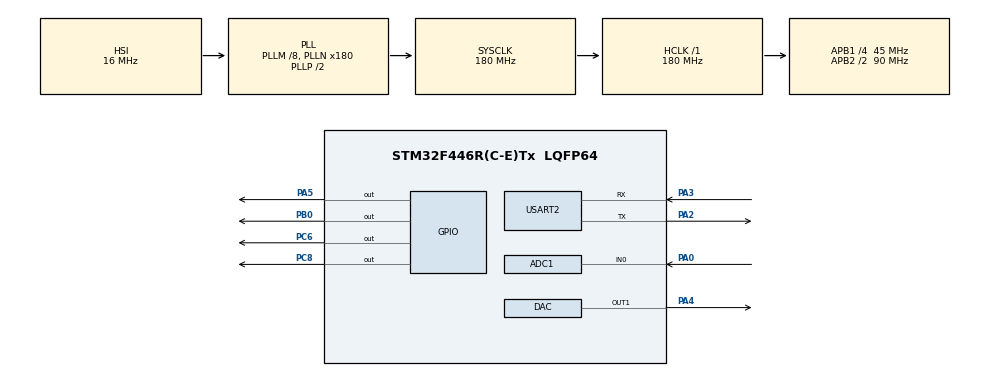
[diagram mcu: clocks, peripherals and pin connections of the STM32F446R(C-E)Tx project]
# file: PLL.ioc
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Mcu.Family=STM32F4
Dma.DAC1.2.PeriphInc=DMA_PINC_DISABLE
RCC.CortexFreq_Value=180000000
ADC1.ContinuousConvMode=ENABLE
Dma.USART2_TX.1.MemInc=DMA_MINC_ENABLE
RCC.SYSCLKSource=RCC_SYSCLKSOURCE_PLLCLK
ProjectManager.StackSize=0x400
Dma.DAC1.2.MemInc=DMA_MINC_DISABLE
Dma.DAC1.2.FIFOMode=DMA_FIFOMODE_DISABLE
ADC1.Channel-3\#ChannelRegularConversion=ADC_CHANNEL_0
RCC.HCLKFreq_Value=180000000
RCC.APB2TimFreq_Value=180000000
VP_TIM10_VS_ClockSourceINT.Mode=Enable_Timer
Dma.ADC1.0.Direction=DMA_PERIPH_TO_MEMORY
Dma.USART2_TX.1.Mode=DMA_NORMAL
NVIC.DMA2_Stream0_IRQn=true\:0\:0\:false\:false\:true\:false\:true
Dma.ADC1.0.MemDataAlignment=DMA_MDATAALIGN_HALFWORD
RCC.AHBFreq_Value=180000000
TIM10.Channel=TIM_CHANNEL_1
DAC.DAC_Trigger=DAC_TRIGGER_T2_TRGO
Dma.USART2_TX.1.Instance=DMA1_Stream6
Dma.ADC1.0.PeriphInc=DMA_PINC_DISABLE
DAC.DAC_OutputBuffer=DAC_OUTPUTBUFFER_ENABLE
SH.ADCx_IN0.0=ADC1_IN0,IN0
Mcu.Package=LQFP64
TIM2.Prescaler=90-1
USART2.VirtualMode=VM_ASYNC
Dma.DAC1.2.Direction=DMA_MEMORY_TO_PERIPH
TIM2.TIM_MasterOutputTrigger=TIM_TRGO_UPDATE
RCC.APB2CLKDivider=RCC_HCLK_DIV2
Dma.Request2=DAC1
Dma.Request1=USART2_TX
RCC.APB1TimFreq_Value=90000000
Dma.ADC1.0.FIFOMode=DMA_FIFOMODE_DISABLE
Dma.DAC1.2.PeriphDataAlignment=DMA_PDATAALIGN_HALFWORD
NVIC.DMA1_Stream6_IRQn=true\:0\:0\:false\:false\:true\:false\:true
Dma.Request0=ADC1
PA3.Signal=USART2_RX
TIM10.Prescaler=10000-1
SH.COMP_DAC1_group.0=DAC_OUT1,DAC_OUT1
Dma.USART2_TX.1.Priority=DMA_PRIORITY_LOW
Dma.ADC1.0.Instance=DMA2_Stream0
Dma.USART2_TX.1.FIFOMode=DMA_FIFOMODE_DISABLE
PC8.Signal=GPIO_Output
PC6.Signal=GPIO_Output
RCC.APB1CLKDivider=RCC_HCLK_DIV4
VP_TIM10_VS_no_output1.Mode=Output Compare1 No Output
Dma.USART2_TX.1.PeriphDataAlignment=DMA_PDATAALIGN_BYTE
NVIC.USART2_IRQn=true\:0\:0\:false\:false\:true\:true\:true
PA0-WKUP.Signal=ADCx_IN0
PA3.Mode=Asynchronous
Dma.ADC1.0.PeriphDataAlignment=DMA_PDATAALIGN_HALFWORD
ProjectManager.TargetToolchain=STM32CubeIDE
NVIC.DMA1_Stream5_IRQn=true\:0\:0\:false\:false\:true\:false\:true
Dma.ADC1.0.Mode=DMA_CIRCULAR
Dma.ADC1.0.Priority=DMA_PRIORITY_LOW
RCC.USBFreq_Value=180000000
PA5.Signal=GPIO_Output
Dma.USART2_TX.1.PeriphInc=DMA_PINC_DISABLE
board=custom
RCC.VCOOutputFreq_Value=360000000
TIM10.Period=18000-1
Dma.USART2_TX.1.Direction=DMA_MEMORY_TO_PERIPH
RCC.APB2Freq_Value=90000000
VP_TIM2_VS_ClockSourceINT.Mode=Internal
Dma.DAC1.2.Instance=DMA1_Stream5
Dma.DAC1.2.Mode=DMA_CIRCULAR
Dma.DAC1.2.MemDataAlignment=DMA_MDATAALIGN_HALFWORD
ADC1.DMAContinuousRequests=ENABLE
TIM2.Period=10-1
Mcu.Name=STM32F446R(C-E)Tx
PA2.Signal=USART2_TX
PA4.Signal=COMP_DAC1_group
RCC.SYSCLKFreq_VALUE=180000000
ADC1.master=1
ADC1.Rank-3\#ChannelRegularConversion=1
ADC1.SamplingTime-3\#ChannelRegularConversion=ADC_SAMPLETIME_3CYCLES
Dma.ADC1.0.MemInc=DMA_MINC_DISABLE
ProjectManager.HeapSize=0x200
NVIC.TIM1_UP_TIM10_IRQn=true\:0\:0\:false\:false\:true\:true\:true
Dma.DAC1.2.Priority=DMA_PRIORITY_LOW
NVIC.PriorityGroup=NVIC_PRIORITYGROUP_4
ADC1.NbrOfConversionFlag=1
RCC.PLLM=8
RCC.PLLN=180
PA2.Mode=Asynchronous
Dma.USART2_TX.1.MemDataAlignment=DMA_MDATAALIGN_BYTE
ADC1.DataAlign=ADC_DATAALIGN_RIGHT
RCC.APB1Freq_Value=45000000
PB0.Signal=GPIO_Output

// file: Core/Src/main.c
/* USER CODE BEGIN Header */
/**
  ******************************************************************************
  * @file           : main.c
  * @brief          : Main program body
  ******************************************************************************
  * @attention
  *
  * <h2><center>&copy; Copyright (c) 2021 STMicroelectronics.
  * All rights reserved.</center></h2>
  *
  * This software component is licensed by ST under BSD 3-Clause license,
  * the "License"; You may not use this file except in compliance with the
  * License. You may obtain a copy of the License at:
  *                        opensource.org/licenses/BSD-3-Clause
  *
  ******************************************************************************
  */
/* USER CODE END Header */
#include "main.h"

/* USER CODE BEGIN Includes */
  #include <stdio.h>
  #include <string.h>
/* USER CODE END Includes */

/* USER CODE BEGIN PD */

// Size of ADC buffer
#define adcBuf_LEN 10
#define PI 3.14159265359
#define TWO_PI 2*PI
/* USER CODE END PD */

ADC_HandleTypeDef hadc1;
DMA_HandleTypeDef hdma_adc1;

DAC_HandleTypeDef hdac;
DMA_HandleTypeDef hdma_dac1;

TIM_HandleTypeDef htim2;
TIM_HandleTypeDef htim10;

UART_HandleTypeDef huart2;
DMA_HandleTypeDef hdma_usart2_tx;

/* USER CODE BEGIN PV */
// USART DMA implementation: Interrupt definition
//void DMATransferComplete(DMA_HandleTypeDef *hdma);

// ADC & DAC DMA buffer
uint16_t adcBuf[adcBuf_LEN];
uint16_t adcValue;

/* USER CODE END PV */

void SystemClock_Config(void);
static void MX_GPIO_Init(void);
static void MX_DMA_Init(void);
static void MX_USART2_UART_Init(void);
static void MX_ADC1_Init(void);
static void MX_TIM10_Init(void);
static void MX_DAC_Init(void);
static void MX_TIM2_Init(void);

int main(void)
{
  /* USER CODE BEGIN 1 */
  // Cope string into buffer (Buffer is integer buffer therefore (char*))
  uint8_t buf[30];
  strcpy((char*)buf, "Hello!\r\n");

  // String buffer for USART
  char adcUsartBuf[40];

  // DAC variables
  uint32_t var; // Digital value storage for DAC

  /* USER CODE END 1 */

  /* MCU Configuration--------------------------------------------------------*/

  /* Reset of all peripherals, Initializes the Flash interface and the Systick. */
  HAL_Init();

  /* Configure the system clock */
  SystemClock_Config();

  /* Initialize all configured peripherals */
  MX_GPIO_Init();
  MX_DMA_Init();
  MX_USART2_UART_Init();
  MX_ADC1_Init();
  MX_TIM10_Init();
  MX_DAC_Init();
  MX_TIM2_Init();
  /* USER CODE BEGIN 2 */

  // ADC DMA implementation//  HAL_ADC_Start_DMA(&hadc1, (int32_t*)adcValue16, sizeof(adcValue16)); // Start DMA
//  HAL_ADC_Start_DMA(&hadc1, (uint32_t*)adcBuf, sizeof(adcBuf)/sizeof(uint16_t)); // Start DMA//  HAL_ADC_Start_DMA(&hadc1, (uint32_t*)adcValue32, 1); // Start DMA (currently unused

  // USART DMA interrupt
//  HAL_DMA_RegisterCallback(&hdma_usart2_tx, HAL_DMA_XFER_CPLT_CB_ID, &DMATransferComplete);

  // DAC DMA
//  HAL_DAC_Start_DMA(&hdac, DAC1_CHANNEL_1, (uint32_t*)&adcBuf[0], sizeof(adcReading0), DAC_ALIGN_12B_R);//  HAL_DAC_Start_DMA(&hdac, DAC1_CHANNEL_1, (uint32_t*)testArray, sizeof(testArray)/sizeof(uint16_t), DAC_ALIGN_12B_R);

  // Timer interrupt start
  HAL_TIM_Base_Start_IT(&htim10);

 // Timer 2 start - DAC starts on every timer 2 update!
  HAL_TIM_Base_Start(&htim2);
  /* USER CODE END 2 */

  /* Infinite loop */
  while (1)
  {

  }
}

void SystemClock_Config(void)
{
  RCC_OscInitTypeDef RCC_OscInitStruct = {0};
  RCC_ClkInitTypeDef RCC_ClkInitStruct = {0};

  /** Configure the main internal regulator output voltage
  */
  __HAL_RCC_PWR_CLK_ENABLE();
  __HAL_PWR_VOLTAGESCALING_CONFIG(PWR_REGULATOR_VOLTAGE_SCALE1);
  /** Initializes the RCC Oscillators according to the specified parameters
  * in the RCC_OscInitTypeDef structure.
  */
  RCC_OscInitStruct.OscillatorType = RCC_OSCILLATORTYPE_HSI;
  RCC_OscInitStruct.HSIState = RCC_HSI_ON;
  RCC_OscInitStruct.HSICalibrationValue = RCC_HSICALIBRATION_DEFAULT;
  RCC_OscInitStruct.PLL.PLLState = RCC_PLL_ON;
  RCC_OscInitStruct.PLL.PLLSource = RCC_PLLSOURCE_HSI;
  RCC_OscInitStruct.PLL.PLLM = 8;
  RCC_OscInitStruct.PLL.PLLN = 180;
  RCC_OscInitStruct.PLL.PLLP = RCC_PLLP_DIV2;
  RCC_OscInitStruct.PLL.PLLQ = 2;
  RCC_OscInitStruct.PLL.PLLR = 2;
  if (HAL_RCC_OscConfig(&RCC_OscInitStruct) != HAL_OK)
  {
    Error_Handler();
  }
  /** Activate the Over-Drive mode
  */
  if (HAL_PWREx_EnableOverDrive() != HAL_OK)
  {
    Error_Handler();
  }
  /** Initializes the CPU, AHB and APB buses clocks
  */
  RCC_ClkInitStruct.ClockType = RCC_CLOCKTYPE_HCLK|RCC_CLOCKTYPE_SYSCLK
                              |RCC_CLOCKTYPE_PCLK1|RCC_CLOCKTYPE_PCLK2;
  RCC_ClkInitStruct.SYSCLKSource = RCC_SYSCLKSOURCE_PLLCLK;
  RCC_ClkInitStruct.AHBCLKDivider = RCC_SYSCLK_DIV1;
  RCC_ClkInitStruct.APB1CLKDivider = RCC_HCLK_DIV4;
  RCC_ClkInitStruct.APB2CLKDivider = RCC_HCLK_DIV2;

  if (HAL_RCC_ClockConfig(&RCC_ClkInitStruct, FLASH_LATENCY_5) != HAL_OK)
  {
    Error_Handler();
  }
}

static void MX_ADC1_Init(void)
{

  ADC_ChannelConfTypeDef sConfig = {0};

  /** Configure the global features of the ADC (Clock, Resolution, Data Alignment and number of conversion)
  */
  hadc1.Instance = ADC1;
  hadc1.Init.ClockPrescaler = ADC_CLOCK_SYNC_PCLK_DIV4;
  hadc1.Init.Resolution = ADC_RESOLUTION_12B;
  hadc1.Init.ScanConvMode = DISABLE;
  hadc1.Init.ContinuousConvMode = ENABLE;
  hadc1.Init.DiscontinuousConvMode = DISABLE;
  hadc1.Init.ExternalTrigConvEdge = ADC_EXTERNALTRIGCONVEDGE_NONE;
  hadc1.Init.ExternalTrigConv = ADC_SOFTWARE_START;
  hadc1.Init.DataAlign = ADC_DATAALIGN_RIGHT;
  hadc1.Init.NbrOfConversion = 1;
  hadc1.Init.DMAContinuousRequests = ENABLE;
  hadc1.Init.EOCSelection = ADC_EOC_SINGLE_CONV;
  if (HAL_ADC_Init(&hadc1) != HAL_OK)
  {
    Error_Handler();
  }
  /** Configure for the selected ADC regular channel its corresponding rank in the sequencer and its sample time.
  */
  sConfig.Channel = ADC_CHANNEL_0;
  sConfig.Rank = 1;
  sConfig.SamplingTime = ADC_SAMPLETIME_3CYCLES;
  if (HAL_ADC_ConfigChannel(&hadc1, &sConfig) != HAL_OK)
  {
    Error_Handler();
  }

}

static void MX_DAC_Init(void)
{

  DAC_ChannelConfTypeDef sConfig = {0};

  /** DAC Initialization
  */
  hdac.Instance = DAC;
  if (HAL_DAC_Init(&hdac) != HAL_OK)
  {
    Error_Handler();
  }
  /** DAC channel OUT1 config
  */
  sConfig.DAC_Trigger = DAC_TRIGGER_T2_TRGO;
  sConfig.DAC_OutputBuffer = DAC_OUTPUTBUFFER_ENABLE;
  if (HAL_DAC_ConfigChannel(&hdac, &sConfig, DAC_CHANNEL_1) != HAL_OK)
  {
    Error_Handler();
  }

}

static void MX_TIM2_Init(void)
{

  TIM_ClockConfigTypeDef sClockSourceConfig = {0};
  TIM_MasterConfigTypeDef sMasterConfig = {0};

  htim2.Instance = TIM2;
  htim2.Init.Prescaler = 90-1;
  htim2.Init.CounterMode = TIM_COUNTERMODE_UP;
  htim2.Init.Period = 10-1;
  htim2.Init.ClockDivision = TIM_CLOCKDIVISION_DIV1;
  htim2.Init.AutoReloadPreload = TIM_AUTORELOAD_PRELOAD_DISABLE;
  if (HAL_TIM_Base_Init(&htim2) != HAL_OK)
  {
    Error_Handler();
  }
  sClockSourceConfig.ClockSource = TIM_CLOCKSOURCE_INTERNAL;
  if (HAL_TIM_ConfigClockSource(&htim2, &sClockSourceConfig) != HAL_OK)
  {
    Error_Handler();
  }
  sMasterConfig.MasterOutputTrigger = TIM_TRGO_UPDATE;
  sMasterConfig.MasterSlaveMode = TIM_MASTERSLAVEMODE_DISABLE;
  if (HAL_TIMEx_MasterConfigSynchronization(&htim2, &sMasterConfig) != HAL_OK)
  {
    Error_Handler();
  }

}

static void MX_TIM10_Init(void)
{

  TIM_OC_InitTypeDef sConfigOC = {0};

  htim10.Instance = TIM10;
  htim10.Init.Prescaler = 100-1;
  htim10.Init.CounterMode = TIM_COUNTERMODE_UP;
  htim10.Init.Period = 180-1;
  htim10.Init.ClockDivision = TIM_CLOCKDIVISION_DIV1;
  htim10.Init.AutoReloadPreload = TIM_AUTORELOAD_PRELOAD_DISABLE;
  if (HAL_TIM_Base_Init(&htim10) != HAL_OK)
  {
    Error_Handler();
  }
  if (HAL_TIM_OC_Init(&htim10) != HAL_OK)
  {
    Error_Handler();
  }
  sConfigOC.OCMode = TIM_OCMODE_TIMING;
  sConfigOC.Pulse = 0;
  sConfigOC.OCPolarity = TIM_OCPOLARITY_HIGH;
  sConfigOC.OCFastMode = TIM_OCFAST_DISABLE;
  if (HAL_TIM_OC_ConfigChannel(&htim10, &sConfigOC, TIM_CHANNEL_1) != HAL_OK)
  {
    Error_Handler();
  }

}

static void MX_USART2_UART_Init(void)
{

  huart2.Instance = USART2;
  huart2.Init.BaudRate = 115200;
  huart2.Init.WordLength = UART_WORDLENGTH_8B;
  huart2.Init.StopBits = UART_STOPBITS_1;
  huart2.Init.Parity = UART_PARITY_NONE;
  huart2.Init.Mode = UART_MODE_TX_RX;
  huart2.Init.HwFlowCtl = UART_HWCONTROL_NONE;
  huart2.Init.OverSampling = UART_OVERSAMPLING_16;
  if (HAL_UART_Init(&huart2) != HAL_OK)
  {
    Error_Handler();
  }

}

static void MX_DMA_Init(void)
{

  /* DMA controller clock enable */
  __HAL_RCC_DMA2_CLK_ENABLE();
  __HAL_RCC_DMA1_CLK_ENABLE();

  /* DMA interrupt init */
  /* DMA1_Stream5_IRQn interrupt configuration */
  HAL_NVIC_SetPriority(DMA1_Stream5_IRQn, 0, 0);
  HAL_NVIC_EnableIRQ(DMA1_Stream5_IRQn);
  /* DMA1_Stream6_IRQn interrupt configuration */
  HAL_NVIC_SetPriority(DMA1_Stream6_IRQn, 0, 0);
  HAL_NVIC_EnableIRQ(DMA1_Stream6_IRQn);
  /* DMA2_Stream0_IRQn interrupt configuration */
  HAL_NVIC_SetPriority(DMA2_Stream0_IRQn, 0, 0);
  HAL_NVIC_EnableIRQ(DMA2_Stream0_IRQn);

}

static void MX_GPIO_Init(void)
{
  GPIO_InitTypeDef GPIO_InitStruct = {0};

  /* GPIO Ports Clock Enable */
  __HAL_RCC_GPIOA_CLK_ENABLE();
  __HAL_RCC_GPIOB_CLK_ENABLE();
  __HAL_RCC_GPIOC_CLK_ENABLE();

  /*Configure GPIO pin Output Level */
  HAL_GPIO_WritePin(GPIOA, GPIO_PIN_5, GPIO_PIN_RESET);

  /*Configure GPIO pin Output Level */
  HAL_GPIO_WritePin(GPIOB, GPIO_PIN_0, GPIO_PIN_RESET);

  /*Configure GPIO pin Output Level */
  HAL_GPIO_WritePin(GPIOC, GPIO_PIN_6|GPIO_PIN_8, GPIO_PIN_RESET);

  /*Configure GPIO pin : PA5 */
  GPIO_InitStruct.Pin = GPIO_PIN_5;
  GPIO_InitStruct.Mode = GPIO_MODE_OUTPUT_PP;
  GPIO_InitStruct.Pull = GPIO_NOPULL;
  GPIO_InitStruct.Speed = GPIO_SPEED_FREQ_LOW;
  HAL_GPIO_Init(GPIOA, &GPIO_InitStruct);

  /*Configure GPIO pin : PB0 */
  GPIO_InitStruct.Pin = GPIO_PIN_0;
  GPIO_InitStruct.Mode = GPIO_MODE_OUTPUT_PP;
  GPIO_InitStruct.Pull = GPIO_NOPULL;
  GPIO_InitStruct.Speed = GPIO_SPEED_FREQ_LOW;
  HAL_GPIO_Init(GPIOB, &GPIO_InitStruct);

  /*Configure GPIO pins : PC6 PC8 */
  GPIO_InitStruct.Pin = GPIO_PIN_6|GPIO_PIN_8;
  GPIO_InitStruct.Mode = GPIO_MODE_OUTPUT_PP;
  GPIO_InitStruct.Pull = GPIO_NOPULL;
  GPIO_InitStruct.Speed = GPIO_SPEED_FREQ_LOW;
  HAL_GPIO_Init(GPIOC, &GPIO_InitStruct);

}

/* USER CODE BEGIN 4 */

// USART DMA interrupt: Transfer of string to USART complete
//void DMATransferComplete(DMA_HandleTypeDef *hdma)
//{
//  huart2.Instance->CR3 &= ~USART_CR3_DMAT;
//  HAL_GPIO_TogglePin(GPIOA, GPIO_PIN_5);
//}

// ADC DMA interrupt: Half of buffer is full
//void HAL_ADC_ConvHalfCpltCallback(ADC_HandleTypeDef* hadc)
//{
//  HAL_GPIO_WritePin(GPIOB, GPIO_PIN_0, GPIO_PIN_SET);
//}

// ADC DMA interrupt: The whole buffer is full
//void HAL_ADC_ConvCpltCallback(ADC_HandleTypeDef* hadc)
//{
//	HAL_GPIO_WritePin(GPIOB, GPIO_PIN_0, GPIO_PIN_RESET);
//}

//void HAL_DAC_ConvCpltCallbackCh1(DAC_HandleTypeDef hdac)
//{
//	HAL_GPIO_TogglePin(GPIOC, GPIO_PIN_8);
//}

// Timer 10 (TIM10) interrupt:
void HAL_TIM_PeriodElapsedCallback(TIM_HandleTypeDef *htim)
{
  if (htim == &htim10)
  {
	// Set pin: Start timer
    HAL_GPIO_WritePin(GPIOC, GPIO_PIN_6, GPIO_PIN_SET);

    static uint16_t var;

    // ADC
    HAL_ADC_Start(&hadc1);
    HAL_ADC_PollForConversion(&hadc1, HAL_MAX_DELAY);
    adcValue = HAL_ADC_GetValue(&hadc1);

	// USART DMA implementation
//	huart2.Instance->CR3 |= USART_CR3_DMAT;
//	adcReading0 = adcBuf[0];
//	sprintf(msg_2, "Adc reading: %u\r\n", adcReading0);	// Update message for usart print
//	HAL_DMA_Start_IT(&hdma_usart2_tx, (uint32_t)msg_2,
//						(uint32_t)&huart2.Instance->DR, strlen(msg_2));

    // DAC
    var = adcValue;
    HAL_DAC_Start(&hdac, DAC_CHANNEL_1); 	// Start the DAC
    HAL_DAC_SetValue(&hdac, DAC_CHANNEL_1, DAC_ALIGN_12B_R, var); // Set dac to digital value

	// Reset pin: Stop timer
	HAL_GPIO_WritePin(GPIOC, GPIO_PIN_6, GPIO_PIN_RESET);
  }
}

/* USER CODE END 4 */

void Error_Handler(void)
{
  __disable_irq();
  while (1)
  {
  }
}

/************************ (C) COPYRIGHT STMicroelectronics *****END OF FILE****/
